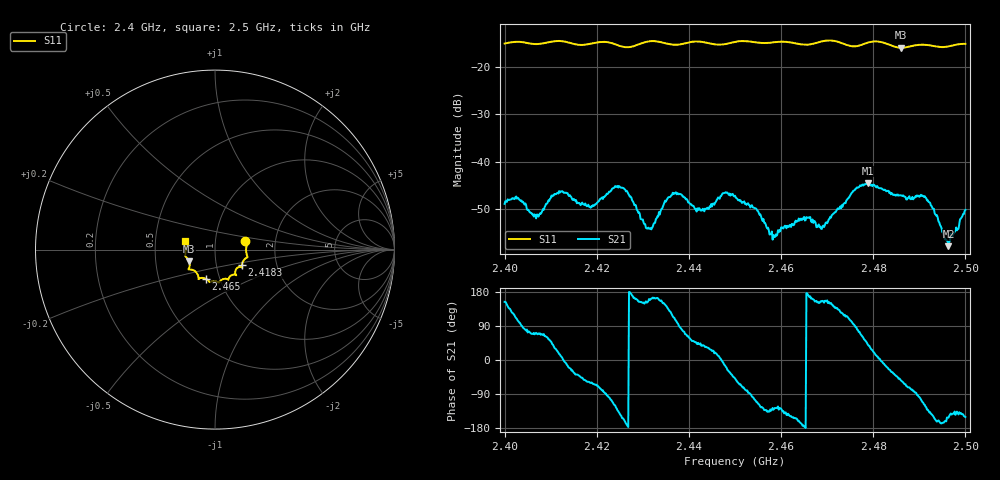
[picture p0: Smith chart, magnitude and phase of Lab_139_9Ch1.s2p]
# Hz S RI R 50
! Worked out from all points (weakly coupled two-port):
!   601 points, 2.4 GHz to 2.5 GHz, reference 50 ohm
!   highest |S21| = -44.42 dB at 2.4788 GHz (marker M1); lowest = -57.7 dB at 2.4963 GHz (marker M2)
!   lowest |S11| = -16.0 dB at 2.486 GHz (marker M3), VSWR 1.38, Z = 37.1 - j4.95 ohm
!   |S11| at or under -10 dB: start of sweep to end of sweep
!   S12 and S22 are empty: the file has one direction only
!   S11 on the Smith chart (normalised r, x): 2.4 GHz: 1.40, +0.13; 2.4183 GHz: 1.33, -0.24; 2.465 GHz: 0.86, -0.29; 2.5 GHz: 0.71, +0.07
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2.4e9  0.169 0.0458  -0.00325 0.00162  0 0  0 0
2.402833e9  0.1798 0.0334  -0.00103 0.00408  0 0  0 0
2.406833e9  0.1728 -0.00124  0.000802 0.00242  0 0  0 0
2.412e9  0.1816 -0.0422  0.00462 0.00118  0 0  0 0
2.416667e9  0.1549 -0.0682  0.0025 -0.00265  0 0  0 0
2.418333e9  0.15 -0.0868  0.0018 -0.00286  0 0  0 0
2.4245e9  0.1383 -0.0962  -0.0038 -0.00409  0 0  0 0
2.431167e9  0.1171 -0.1422  -0.00185 0.000864  0 0  0 0
2.433333e9  0.1169 -0.1413  -0.00253 0.000819  0 0  0 0
2.437e9  0.09 -0.1442  -0.00133 0.00448  0 0  0 0
2.442833e9  0.0724 -0.1674  0.00245 0.00187  0 0  0 0
2.45e9  0.0252 -0.1806  0.00292 -0.00331  0 0  0 0
2.458167e9  -0.0192 -0.1789  -0.000908 -0.00122  0 0  0 0
2.465e9  -0.0528 -0.1622  -0.00264 -0.00021  0 0  0 0
2.466667e9  -0.0714 -0.1576  -0.00221 0.000703  0 0  0 0
2.469e9  -0.0896 -0.1622  -0.00192 0.000853  0 0  0 0
2.478833e9  -0.1406 -0.1106  0.00458 0.0039  0 0  0 0
2.483333e9  -0.1421 -0.0958  0.00454 -0.00203  0 0  0 0
2.486e9  -0.1441 -0.0649  0.00262 -0.00362  0 0  0 0
2.491333e9  -0.1669 -0.0317  -0.00229 -0.00355  0 0  0 0
2.496333e9  -0.1622 0.0202  -0.00115 -0.000609  0 0  0 0
2.5e9  -0.1672 0.0474  -0.00273 -0.00154  0 0  0 0
